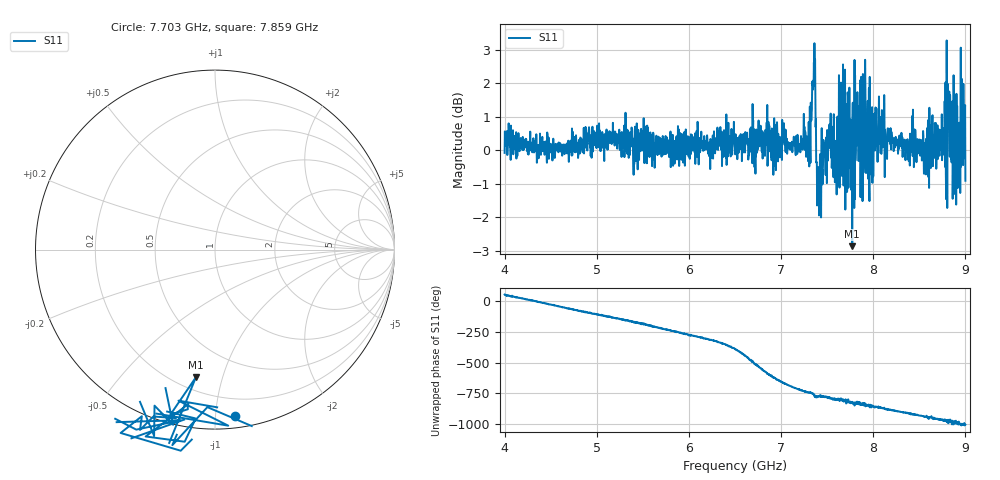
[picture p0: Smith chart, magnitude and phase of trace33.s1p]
! Created with skrf 1.8.0 (http://scikit-rf.org).
# Hz S RI R 50.0
!freq ReS11 ImS11
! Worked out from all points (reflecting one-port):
!   1601 points, 4 GHz to 9 GHz, reference 50 ohm
!   lowest |S11| = -2.9 dB at 7.772 GHz (marker M1), VSWR 6.11, Z = 14 - j41.1 ohm
!   phase of S11 starts at 51 deg and turns -1056 deg over the sweep
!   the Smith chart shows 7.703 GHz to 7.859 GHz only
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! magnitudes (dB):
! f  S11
! 4 GHz  -0.1
! 4.625 GHz  -0.2
! 5.25 GHz  0.0
! 5.875 GHz  0.0
! 6.5 GHz  0.2
! 7.125 GHz  0.1
! 7.294 GHz  -0.3
! 7.347 GHz  1.8
! 7.362 GHz  3.2
! 7.409 GHz  -0.8
! 7.512 GHz  0.4
! 7.591 GHz  0.3
! 7.669 GHz  0.5
! 7.75 GHz  -0.4
! 7.772 GHz  -2.9
! 7.844 GHz  1.2
! 7.875 GHz  -0.6
! 7.928 GHz  0.8
! 7.981 GHz  -0.7
! 8.009 GHz  0.7
! 8.097 GHz  0.4
! 8.375 GHz  -0.1
! 8.769 GHz  0.7
! 8.822 GHz  1.0
! 8.875 GHz  0.8
! 8.919 GHz  -0.7
! 8.972 GHz  0.9
! 9 GHz  -0.9
